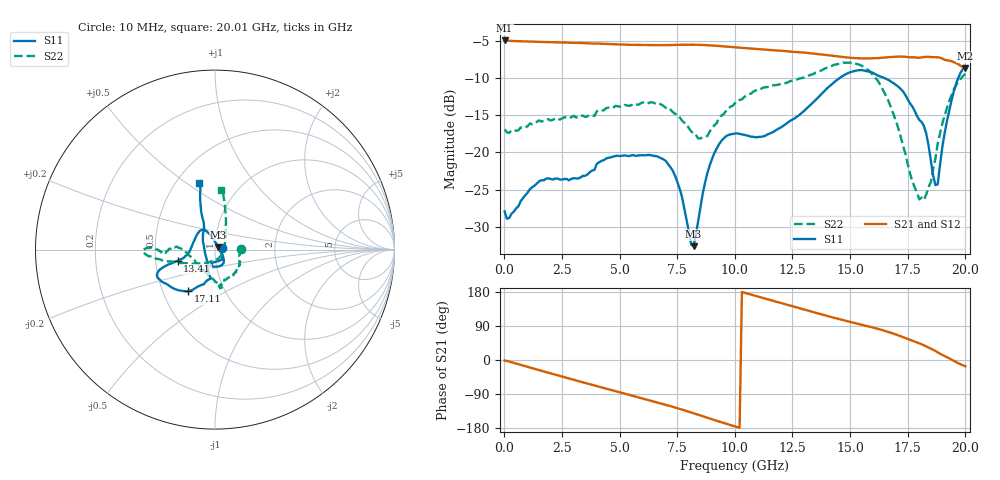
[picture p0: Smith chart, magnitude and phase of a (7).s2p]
! Hittite Microwave Corporation
! 2 Elizabeth Drive
! Chelmsford, MA 01824
! http://www.hittite.com
! Tel: 978-250-3343
! Fax: 978-250-3373
! Device:  HMC424LP3
! Description: 0.5 dB GaAs MMIC 6-Bit Digital Attenuator
! Frequency:  DC -  13.00 GHz
! Package:  LP3  - 3x3 mm Quad Flatpack No-Lead (QFN) Plastic Package: 16 pin
! Ports:  2 RF, 7 DC
!  Pad  1  = Ground
!  Pad  2  = RF IN  = Port 1
!  Pad  3  = Ground
!  Pad  4  = V6
!  Pad  5  = V5
!  Pad  6  = V4
!  Pad  7  = V3
!  Pad  8  = V2
!  Pad  9  = V1
!  Pad 10  = Ground
!  Pad 11  = RF OUT  = Port 2
!  Pad 12  = Ground
!  Pad 15  = VEE
! Control:  -5 Volt control voltage
! State:  5
! Attenuation:  2.5 dB
! Voltages:  Vdd = -5.00 Volts  Idd =  -2.443 mA
!  V1  = -5.00 Volts  I1  =  -1.0 uA
!  V2  = 0.00 Volts  I2  =  29.0 uA
!  V3  = -5.00 Volts  I3  =  -1.0 uA
!  V4  = 0.00 Volts  I4  =  30.0 uA
!  V5  = 0.00 Volts  I5  =  30.0 uA
!  V6  = 0.00 Volts  I6  =  30.0 uA
! Data:  The device was measured on evaluation board 105354-1.
!  Data was collected using a calibrated network analyzer.
!  The evaluation circuit board was modeled and simulated.  This was use
!  to removed the evaluation board circuit from the measured data.
!  The reference plane is the edge of the package pin.
! Misc:  Lot xxxx, Unit 1
!  Application 20120001, Data collected in Application 20090083
! Date Measured:  2009-09-15
! Date:  2012-05-14  MJV
! Note:
!  Hittite supplies this data as a sample of measured data at the package pin
!  for this product.  Your particular data for this product may vary.
!  Data was taken at 25 degrees C.
!  Hittite reserves the right to change this data at anytime.
# GHz S MA R 50
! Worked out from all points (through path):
!   201 points, 10 MHz to 20.01 GHz, reference 50 ohm
!   highest |S21| = -4.99 dB at 10 MHz (marker M1); lowest = -8.7 dB at 20.01 GHz (marker M2)
!   group delay of S21, straight-line fit = 49.5 ps
!   lowest |S11| = -32.6 dB at 8.21 GHz (marker M3), VSWR 1.05, Z = 51.8 + j1.57 ohm
!   |S11| at or under -10 dB: start of sweep to 14.56 GHz; 16.47 GHz to 19.7 GHz (3.233 GHz wide, 17.9 % of centre)
!   |S22| runs from -26.4 to -8.0 dB; largest |S21 - S12| = 0.0011
!   S11 on the Smith chart (normalised r, x): 10 MHz: 1.08, +0.01; 13.41 GHz: 0.65, -0.08; 17.11 GHz: 0.67, -0.34; 20.01 GHz: 0.65, +0.56
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0.01  0.04024 8.9  0.5627 -1.3  0.5627 -1.3  0.1427 2.0
0.21  0.03632 -11.9  0.5595 -4.2  0.5593 -4.2  0.1354 -5.9
1.61  0.06512 -51.8  0.5501 -28.5  0.5495 -28.5  0.1609 -32.2
3.41  0.06961 -90.6  0.5406 -58.9  0.5398 -58.9  0.1764 -61.7
4.81  0.09464 -105.8  0.5308 -82.1  0.5303 -82.1  0.2047 -82.6
6.71  0.09287 -63.9  0.5233 -113.1  0.5225 -113.1  0.2124 -81.2
7.41  0.06962 -46.9  0.5255 -125.3  0.5247 -125.3  0.1812 -88.0
8.21  0.02353 40.1  0.5267 -140.5  0.5259 -140.5  0.1347 -116.3
8.91  0.08179 107.8  0.5223 -154.4  0.5217 -154.4  0.138 -161.9
9.41  0.1191 116.5  0.5155 -164.2  0.5147 -164.2  0.1757 -177.4
10.01  0.1338 127.5  0.5061 -175.3  0.5054 -175.3  0.2134 175.7
11.31  0.129 170.0  0.4883 162.2  0.4875 162.3  0.2732 -176.9
13.41  0.217 -163.4  0.4605 126.4  0.4596 126.4  0.3352 178.9
15.41  0.3558 -155.0  0.4274 94.6  0.4269 94.7  0.3869 -176.0
16.71  0.3035 -131.6  0.4353 73.2  0.4348 73.2  0.2136 -159.9
17.11  0.2749 -122.6  0.4387 64.8  0.4379 64.8  0.1428 -146.4
18.01  0.1651 -99.4  0.4307 43.9  0.4303 44.0  0.0484 -54.2
18.31  0.1339 -105.1  0.437 35.9  0.4365 35.9  0.0523 -5.2
18.71  0.06031 -153.6  0.4353 23.8  0.4348 23.8  0.09101 49.1
18.81  0.06119 171.2  0.434 20.1  0.4333 20.2  0.1147 57.2
19.41  0.2239 110.1  0.4085 1.0  0.4077 1.0  0.2417 76.6
20.01  0.3797 103.4  0.3668 -16.6  0.3666 -16.5  0.3361 84.6
